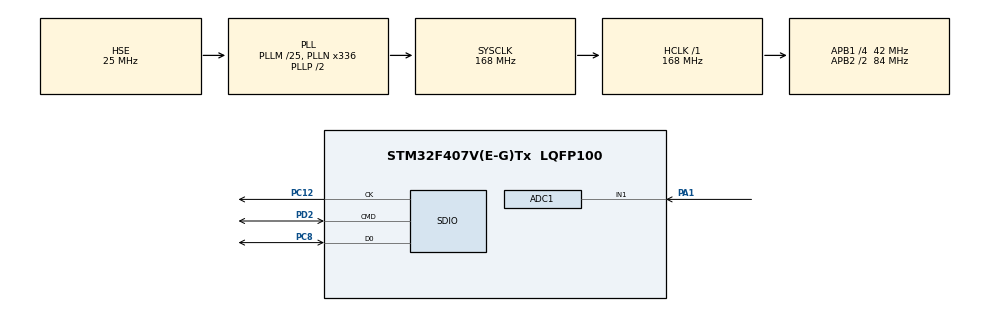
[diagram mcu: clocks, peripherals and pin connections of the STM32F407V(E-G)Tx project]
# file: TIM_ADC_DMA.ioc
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ADC1.Channel-0\#ChannelRegularConversion=ADC_CHANNEL_1
ADC1.DMAContinuousRequests=ENABLE
ADC1.ExternalTrigConv=ADC_EXTERNALTRIGCONV_T2_TRGO
ADC1.NbrOfConversionFlag=1
ADC1.Rank-0\#ChannelRegularConversion=1
ADC1.SamplingTime-0\#ChannelRegularConversion=ADC_SAMPLETIME_3CYCLES
ADC1.master=1
Dma.ADC1.0.Direction=DMA_PERIPH_TO_MEMORY
Dma.ADC1.0.FIFOMode=DMA_FIFOMODE_DISABLE
Dma.ADC1.0.Instance=DMA2_Stream0
Dma.ADC1.0.MemDataAlignment=DMA_MDATAALIGN_HALFWORD
Dma.ADC1.0.MemInc=DMA_MINC_ENABLE
Dma.ADC1.0.Mode=DMA_CIRCULAR
Dma.ADC1.0.PeriphDataAlignment=DMA_PDATAALIGN_HALFWORD
Dma.ADC1.0.PeriphInc=DMA_PINC_DISABLE
Dma.ADC1.0.Priority=DMA_PRIORITY_LOW
Dma.Request0=ADC1
Mcu.Family=STM32F4
Mcu.Name=STM32F407V(E-G)Tx
Mcu.Package=LQFP100
NVIC.DMA2_Stream0_IRQn=true\:0\:0\:false\:false\:true\:false\:true\:true
NVIC.PriorityGroup=NVIC_PRIORITYGROUP_4
PA1.Signal=ADCx_IN1
PA13.Mode=Serial_Wire
PA13.Signal=SYS_JTMS-SWDIO
PA14.Mode=Serial_Wire
PA14.Signal=SYS_JTCK-SWCLK
PC12.Mode=SD_1_bit
PC12.Signal=SDIO_CK
PC8.Mode=SD_1_bit
PC8.Signal=SDIO_D0
PD2.Mode=SD_1_bit
PD2.Signal=SDIO_CMD
PH0-OSC_IN.Mode=HSE-External-Oscillator
PH0-OSC_IN.Signal=RCC_OSC_IN
PH1-OSC_OUT.Mode=HSE-External-Oscillator
PH1-OSC_OUT.Signal=RCC_OSC_OUT
ProjectManager.HeapSize=0x200
ProjectManager.StackSize=0x400
ProjectManager.TargetToolchain=STM32CubeIDE
RCC.48MHZClocksFreq_Value=48000000
RCC.AHBFreq_Value=168000000
RCC.APB1CLKDivider=RCC_HCLK_DIV4
RCC.APB1Freq_Value=42000000
RCC.APB1TimFreq_Value=84000000
RCC.APB2CLKDivider=RCC_HCLK_DIV2
RCC.APB2Freq_Value=84000000
RCC.APB2TimFreq_Value=168000000
RCC.CortexFreq_Value=168000000
RCC.HCLKFreq_Value=168000000
RCC.HSE_VALUE=25000000
RCC.HSI_VALUE=16000000
RCC.LSE_VALUE=32768
RCC.PLLM=25
RCC.PLLN=336
RCC.PLLQ=7
RCC.PLLSourceVirtual=RCC_PLLSOURCE_HSE
RCC.SYSCLKFreq_VALUE=168000000
RCC.SYSCLKSource=RCC_SYSCLKSOURCE_PLLCLK
RCC.VCOOutputFreq_Value=336000000
SH.ADCx_IN1.0=ADC1_IN1,IN1
TIM2.Period=1119
TIM2.Prescaler=1
TIM2.TIM_MasterOutputTrigger=TIM_TRGO_UPDATE
VP_FATFS_VS_SDIO.Mode=SDIO
VP_TIM2_VS_ClockSourceINT.Mode=Internal
board=custom

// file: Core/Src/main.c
/* USER CODE BEGIN Header */
/**
  ******************************************************************************
  * @file           : main.c
  * @brief          : Main program body
  ******************************************************************************
  * @attention
  *
  * Copyright (c) 2024 STMicroelectronics.
  * All rights reserved.
  *
  * This software is licensed under terms that can be found in the LICENSE file
  * in the root directory of this software component.
  * If no LICENSE file comes with this software, it is provided AS-IS.
  *
  ******************************************************************************
  */
/* USER CODE END Header */
#include "main.h"
#include "fatfs.h"

/* USER CODE BEGIN PD */
#define adc_length 2
/* USER CODE END PD */

ADC_HandleTypeDef hadc1;
DMA_HandleTypeDef hdma_adc1;

SD_HandleTypeDef hsd;

TIM_HandleTypeDef htim2;

/* USER CODE BEGIN PV */
uint8_t hoba = 0;
uint16_t adc_data[adc_length];
/* USER CODE END PV */

void SystemClock_Config(void);
static void MX_GPIO_Init(void);
static void MX_DMA_Init(void);
static void MX_ADC1_Init(void);
static void MX_TIM2_Init(void);
static void MX_SDIO_SD_Init(void);

/* USER CODE BEGIN 0 */
void VAL_TO_NUMS_ARR(uint16_t *value, uint8_t arr[]);
void NUM_TO_ASCII(uint8_t *num, uint8_t *num_ascii);

void HAL_ADC_ConvHalfCpltCallback(ADC_HandleTypeDef* hadc);
/* USER CODE END 0 */

int main(void)
{

  /* MCU Configuration--------------------------------------------------------*/

  /* Reset of all peripherals, Initializes the Flash interface and the Systick. */
  HAL_Init();

  /* Configure the system clock */
  SystemClock_Config();

  /* Initialize all configured peripherals */
  MX_GPIO_Init();
  MX_DMA_Init();
  MX_ADC1_Init();
  MX_TIM2_Init();
  MX_SDIO_SD_Init();
  MX_FATFS_Init();
  /* USER CODE BEGIN 2 */
  /*static const *///uint16_t adc_data[adc_length];
  adc_data[0] = 33;
  adc_data[1] = 33;
//  adc_data[2] = 33;
//  adc_data[3] = 33;
//  adc_data[4] = 33;

  HAL_TIM_Base_Start(&htim2);

  HAL_ADC_Start_DMA(&hadc1, (uint32_t*)adc_data, adc_length);
  //HAL_Delay(800);
  //HAL_ADC_Stop_DMA(&hadc1);

  uint8_t adc_data_for_txt[adc_length][5];
  uint16_t i;
  uint8_t k;
  uint8_t temp_arr[4];
  for(i = 0; i < adc_length; i = i + 1){
	  VAL_TO_NUMS_ARR(&adc_data[i], temp_arr);
	  for(k = 0; k < 4; k = k + 1){
		  NUM_TO_ASCII(&temp_arr[k], &adc_data_for_txt[i][k]);
	  }
	  adc_data_for_txt[i][4] = 32;
  }

float a =3.345;

  HAL_SD_Init(&hsd);
  FATFS fileSystem;
  FIL testFile;
  DIR testDir;
  uint8_t testBuffer[16] = "SD write success";
  UINT testBytes;
  FRESULT res;
  if(f_mount(&fileSystem, SDPath, 1) == FR_OK)
  {
     uint8_t path[14] = "signal.txt";
     path[13] = '\0';
     res = f_open(&testFile, (char*)path, FA_WRITE | FA_CREATE_ALWAYS);
     res = f_write(&testFile, adc_data_for_txt, /*1000*/adc_length * 5, &testBytes);
     res = f_close(&testFile);
     f_mkdir("signal_Dir");
  }

  /* USER CODE END 2 */

  /* Infinite loop */
  while (1)
  {

  }
}

void SystemClock_Config(void)
{
  RCC_OscInitTypeDef RCC_OscInitStruct = {0};
  RCC_ClkInitTypeDef RCC_ClkInitStruct = {0};

  /** Configure the main internal regulator output voltage
  */
  __HAL_RCC_PWR_CLK_ENABLE();
  __HAL_PWR_VOLTAGESCALING_CONFIG(PWR_REGULATOR_VOLTAGE_SCALE1);

  /** Initializes the RCC Oscillators according to the specified parameters
  * in the RCC_OscInitTypeDef structure.
  */
  RCC_OscInitStruct.OscillatorType = RCC_OSCILLATORTYPE_HSE;
  RCC_OscInitStruct.HSEState = RCC_HSE_ON;
  RCC_OscInitStruct.PLL.PLLState = RCC_PLL_ON;
  RCC_OscInitStruct.PLL.PLLSource = RCC_PLLSOURCE_HSE;
  RCC_OscInitStruct.PLL.PLLM = 25;
  RCC_OscInitStruct.PLL.PLLN = 336;
  RCC_OscInitStruct.PLL.PLLP = RCC_PLLP_DIV2;
  RCC_OscInitStruct.PLL.PLLQ = 7;
  if (HAL_RCC_OscConfig(&RCC_OscInitStruct) != HAL_OK)
  {
    Error_Handler();
  }

  /** Initializes the CPU, AHB and APB buses clocks
  */
  RCC_ClkInitStruct.ClockType = RCC_CLOCKTYPE_HCLK|RCC_CLOCKTYPE_SYSCLK
                              |RCC_CLOCKTYPE_PCLK1|RCC_CLOCKTYPE_PCLK2;
  RCC_ClkInitStruct.SYSCLKSource = RCC_SYSCLKSOURCE_PLLCLK;
  RCC_ClkInitStruct.AHBCLKDivider = RCC_SYSCLK_DIV1;
  RCC_ClkInitStruct.APB1CLKDivider = RCC_HCLK_DIV4;
  RCC_ClkInitStruct.APB2CLKDivider = RCC_HCLK_DIV2;

  if (HAL_RCC_ClockConfig(&RCC_ClkInitStruct, FLASH_LATENCY_5) != HAL_OK)
  {
    Error_Handler();
  }
}

static void MX_ADC1_Init(void)
{

  ADC_ChannelConfTypeDef sConfig = {0};

  /* USER CODE BEGIN ADC1_Init 1 */
  __HAL_RCC_ADC1_CLK_ENABLE();
  /* USER CODE END ADC1_Init 1 */

  /** Configure the global features of the ADC (Clock, Resolution, Data Alignment and number of conversion)
  */
  hadc1.Instance = ADC1;
  hadc1.Init.ClockPrescaler = ADC_CLOCK_SYNC_PCLK_DIV4;
  hadc1.Init.Resolution = ADC_RESOLUTION_12B;
  hadc1.Init.ScanConvMode = DISABLE;
  hadc1.Init.ContinuousConvMode = DISABLE;
  hadc1.Init.DiscontinuousConvMode = DISABLE;
  hadc1.Init.ExternalTrigConvEdge = ADC_EXTERNALTRIGCONVEDGE_RISING;
  hadc1.Init.ExternalTrigConv = ADC_EXTERNALTRIGCONV_T2_TRGO;
  hadc1.Init.DataAlign = ADC_DATAALIGN_RIGHT;
  hadc1.Init.NbrOfConversion = 1;
  hadc1.Init.DMAContinuousRequests = ENABLE;
  hadc1.Init.EOCSelection = ADC_EOC_SINGLE_CONV;
  if (HAL_ADC_Init(&hadc1) != HAL_OK)
  {
    Error_Handler();
  }

  /** Configure for the selected ADC regular channel its corresponding rank in the sequencer and its sample time.
  */
  sConfig.Channel = ADC_CHANNEL_1;
  sConfig.Rank = 1;
  sConfig.SamplingTime = ADC_SAMPLETIME_3CYCLES;
  if (HAL_ADC_ConfigChannel(&hadc1, &sConfig) != HAL_OK)
  {
    Error_Handler();
  }

}

static void MX_SDIO_SD_Init(void)
{

  hsd.Instance = SDIO;
  hsd.Init.ClockEdge = SDIO_CLOCK_EDGE_RISING;
  hsd.Init.ClockBypass = SDIO_CLOCK_BYPASS_DISABLE;
  hsd.Init.ClockPowerSave = SDIO_CLOCK_POWER_SAVE_DISABLE;
  hsd.Init.BusWide = SDIO_BUS_WIDE_1B;
  hsd.Init.HardwareFlowControl = SDIO_HARDWARE_FLOW_CONTROL_DISABLE;
  hsd.Init.ClockDiv = 0;

}

static void MX_TIM2_Init(void)
{

  TIM_ClockConfigTypeDef sClockSourceConfig = {0};
  TIM_MasterConfigTypeDef sMasterConfig = {0};

  /* USER CODE BEGIN TIM2_Init 1 */
  __HAL_RCC_TIM2_CLK_ENABLE();
  /* USER CODE END TIM2_Init 1 */
  htim2.Instance = TIM2;
  htim2.Init.Prescaler = 1;
  htim2.Init.CounterMode = TIM_COUNTERMODE_UP;
  htim2.Init.Period = 1119;
  htim2.Init.ClockDivision = TIM_CLOCKDIVISION_DIV1;
  htim2.Init.AutoReloadPreload = TIM_AUTORELOAD_PRELOAD_DISABLE;
  if (HAL_TIM_Base_Init(&htim2) != HAL_OK)
  {
    Error_Handler();
  }
  sClockSourceConfig.ClockSource = TIM_CLOCKSOURCE_INTERNAL;
  if (HAL_TIM_ConfigClockSource(&htim2, &sClockSourceConfig) != HAL_OK)
  {
    Error_Handler();
  }
  sMasterConfig.MasterOutputTrigger = TIM_TRGO_UPDATE;
  sMasterConfig.MasterSlaveMode = TIM_MASTERSLAVEMODE_DISABLE;
  if (HAL_TIMEx_MasterConfigSynchronization(&htim2, &sMasterConfig) != HAL_OK)
  {
    Error_Handler();
  }

}

static void MX_DMA_Init(void)
{

  /* DMA controller clock enable */
  __HAL_RCC_DMA2_CLK_ENABLE();

  /* DMA interrupt init */
  /* DMA2_Stream0_IRQn interrupt configuration */
  HAL_NVIC_SetPriority(DMA2_Stream0_IRQn, 0, 0);
  HAL_NVIC_EnableIRQ(DMA2_Stream0_IRQn);

}

static void MX_GPIO_Init(void)
{

  /* GPIO Ports Clock Enable */
  __HAL_RCC_GPIOH_CLK_ENABLE();
  __HAL_RCC_GPIOA_CLK_ENABLE();
  __HAL_RCC_GPIOC_CLK_ENABLE();
  __HAL_RCC_GPIOD_CLK_ENABLE();

}

/* USER CODE BEGIN 4 */
void VAL_TO_NUMS_ARR(uint16_t *value, uint8_t arr[]){
	arr[0] = *value / 1000;
	arr[1] = (*value % 1000) / 100;
	arr[2] = ((*value % 1000) % 100) / 10;
	arr[3] = ((*value % 1000) % 100) % 10;
}

void NUM_TO_ASCII(uint8_t *num, uint8_t *num_ascii){
	switch (*num){
		case 0:
			*num_ascii = 48;
			break;
		case 1:
			*num_ascii = 49;
			break;
		case 2:
			*num_ascii = 50;
			break;
		case 3:
			*num_ascii = 51;
			break;
		case 4:
			*num_ascii = 52;
			break;
		case 5:
			*num_ascii = 53;
			break;
		case 6:
			*num_ascii = 54;
			break;
		case 7:
			*num_ascii = 55;
			break;
		case 8:
			*num_ascii = 56;
			break;
		case 9:
			*num_ascii = 57;
			break;
	}
}

void HAL_ADC_ConvCpltCallback(ADC_HandleTypeDef* hadc)
{
  /* Prevent unused argument(s) compilation warning */

	static uint8_t var = 0;

	  //HAL_ADC_Stop_DMA(&hadc1);

	if(var < 2){
	HAL_ADC_Start_DMA(&hadc1, (uint32_t*)adc_data, adc_length);
	}else{
		HAL_ADC_Stop_DMA(&hadc1);
	}
	var = var + 1;

  /* NOTE : This function Should not be modified, when the callback is needed,
            the HAL_ADC_ConvCpltCallback could be implemented in the user file
   */
}

void HAL_ADC_ConvHalfCpltCallback(ADC_HandleTypeDef* hadc)
{
  /* Prevent unused argument(s) compilation warning */
  hoba = hoba + 1;
  /* NOTE : This function Should not be modified, when the callback is needed,
            the HAL_ADC_ConvHalfCpltCallback could be implemented in the user file
   */
}
/* USER CODE END 4 */

void Error_Handler(void)
{
  __disable_irq();
  while (1)
  {
  }
}
